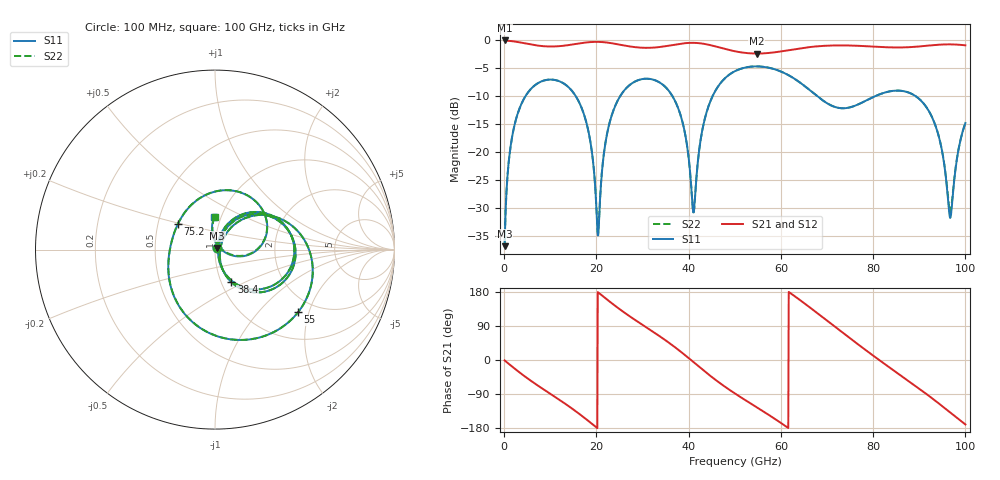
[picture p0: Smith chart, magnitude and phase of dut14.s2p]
! Touchstone file exported from HFSS 2026.1.0
!  File:  C:/ffzhzh/LocalFiles/Ansys_Project_Files/temp_train_TSV_RDL_14_1783437809_41684.aedt
!  Generated:  11:37:01 PM Jul  7, 2026
!  Design:  TSV_RDL
!  Project:  temp_train_TSV_RDL_14_1783437809_41684
! Variables:
!  h_bsmrdl = 3.55um
!  h_ox = 20um
!  h_rdl = 5um
!  h_sub = 66.69um
!  h_tmrdl = 4.76um
!  h_tsv = 66.69um
!  h_via = 3um
!  l_bsmrdl = 559.45um
!  l_sub = 3080.46um
!  l_tmrdl = 211.04um
!  m_sub = 200um
!  pitch = 46.63um
!  r_tsv = 7.71um
!  s_tmrdl = 10um
!  w_bsmrdl = 23.74um
!  w_sub = 500um
!  w_tmrdl = 28.91um
!  x_tsv_center1 = 225.495um
!  x_tsv_center2 = 808.685um
!  x_tsv_center3 = 1048.635um
!  x_tsv_center4 = 1631.825um
!  x_tsv_center5 = 1871.775um
!  x_tsv_center6 = 2454.965um
# GHz S MA R 50.000000
! Terminal data exported
! Port[1] = TM_RDL1_1_T1
! Port[2] = TM_RDL5_1_T1
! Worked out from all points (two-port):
!   1000 points, 100 MHz to 100 GHz, reference 50 ohm
!   highest |S21| = -0.10 dB at 100 MHz (marker M1); lowest = -2.4 dB at 54.8 GHz (marker M2)
!   |S21| within 3 dB of the highest: start of sweep to end of sweep
!   lowest |S11| = -36.9 dB at 100 MHz (marker M3), VSWR 1.03, Z = 51.1 + j0.902 ohm
!   |S11| at or under -10 dB: 15.48 GHz to 25.2 GHz (9.711 GHz wide, 47.7 % of centre); 67.78 GHz to 80.61 GHz (12.82 GHz wide, 17.3 % of centre); 89.11 GHz to end of sweep (the widest 3 of 5)
!   |S22| runs from -36.9 to -4.7 dB; largest |S21 - S12| = 1.7e-14
!   S11 on the Smith chart (normalised r, x): 100 MHz: 1.02, +0.02; 38.4 GHz: 1.12, -0.42; 55 GHz: 1.62, -1.70; 75.2 GHz: 0.63, +0.19; 100 GHz: 0.93, +0.35
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0.1  0.01434 38.0  0.9888 -1.1  0.9888 -1.1  0.01434 38.0
! Gamma 0 0 0 0
! Port Impedance 50 0 50 0
1.7  0.1341 66.2  0.9753 -17.1  0.9753 -17.1  0.1341 66.2
4.8  0.3226 40.3  0.9259 -46.1  0.9259 -46.1  0.3226 40.4
11.1  0.4377 -9.7  0.8749 -98.0  0.8749 -98.0  0.4376 -9.6
16.8  0.2465 -55.5  0.9371 -146.9  0.9371 -146.9  0.2464 -55.3
20.4  0.01793 8.9  0.9603 178.2  0.9603 178.2  0.01881 8.5
22  0.123 62.9  0.9504 162.5  0.9504 162.5  0.1231 62.5
24.3  0.2698 46.2  0.9191 140.8  0.9191 140.8  0.2698 46.1
33.4  0.4235 -24.6  0.861 65.4  0.861 65.4  0.4235 -24.6
38.4  0.2024 -63.4  0.9263 20.9  0.9263 20.9  0.2023 -63.3
41.1  0.02871 0.2  0.9415 -6.0  0.9415 -6.0  0.02889 0.4
44.1  0.2407 46.4  0.9095 -36.0  0.9095 -36.0  0.2408 46.5
50.1  0.527 -1.0  0.7904 -88.9  0.7904 -88.9  0.5271 -1.0
54.8  0.5798 -35.5  0.7554 -125.1  0.7554 -125.1  0.5799 -35.4
55  0.5796 -37.0  0.7554 -126.6  0.7554 -126.6  0.5797 -36.9
61.6  0.4851 -87.8  0.8082 -179.5  0.8082 -179.5  0.4851 -87.6
66.7  0.3437 -132.2  0.867 134.8  0.867 134.8  0.3438 -131.8
75.2  0.251 145.5  0.8904 55.4  0.8904 55.4  0.2511 146.1
83.4  0.3456 70.3  0.8583 -18.4  0.8583 -18.4  0.3456 70.8
92.4  0.2188 -3.5  0.8928 -97.4  0.8928 -97.4  0.2192 -2.7
96.7  0.02562 38.4  0.9124 -138.4  0.9124 -138.4  0.02876 38.5
100  0.181 91.5  0.8948 -170.1  0.8948 -170.1  0.1813 90.6
